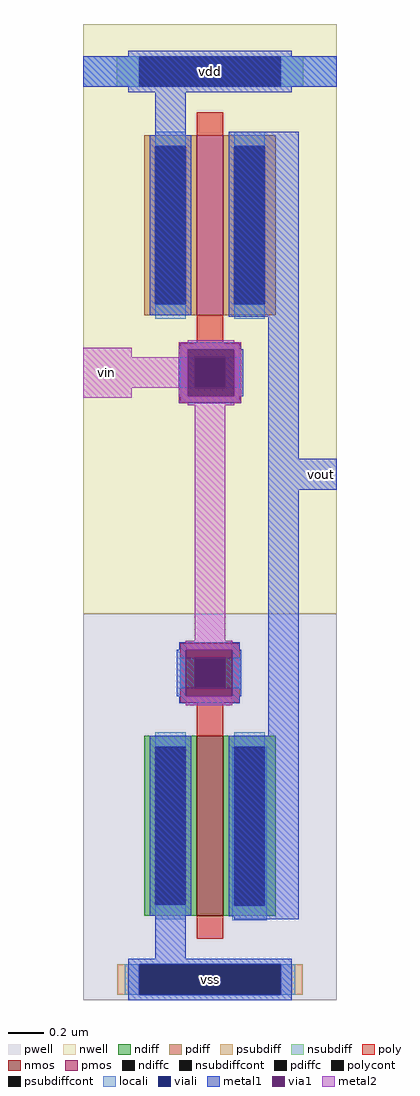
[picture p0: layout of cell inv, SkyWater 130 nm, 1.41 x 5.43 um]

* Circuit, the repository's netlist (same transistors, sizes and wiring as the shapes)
** sch_path: /home/vincef/projects/tt06_555/xsch/ip/logic/inv.sch
.subckt inv vin vout vdd vss
*.PININFO vin:I vout:O vdd:I vss:I
XMn vout vin vss vss sky130_fd_pr__nfet_01v8 L=0.15 W=1 nf=1 m=1
XMp vout vin vdd vdd sky130_fd_pr__pfet_01v8 L=0.15 W=1 nf=1 m=1
.ends
.end

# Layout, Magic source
magic
tech sky130A
magscale 1 2
<< nwell >>
rect 978 1218 1260 1437
<< pwell >>
rect 978 788 1260 1218
<< psubdiff >>
rect 1016 794 1040 828
rect 1198 794 1222 828
<< psubdiffcont >>
rect 1040 794 1198 828
<< poly >>
rect 1104 1453 1134 1504
rect 1086 1169 1152 1185
rect 1086 1135 1102 1169
rect 1136 1135 1152 1169
rect 1086 1119 1152 1135
rect 1104 1082 1134 1119
<< polycont >>
rect 1102 1135 1136 1169
<< locali >>
rect 1086 1135 1102 1169
rect 1136 1135 1152 1169
rect 1024 794 1040 828
rect 1198 794 1214 828
<< viali >>
rect 1040 1804 1198 1838
rect 1102 1135 1136 1169
rect 1040 794 1198 828
<< metal1 >>
rect 1028 1838 1210 1844
rect 1028 1804 1040 1838
rect 1198 1804 1210 1838
rect 1028 1798 1210 1804
rect 1058 1562 1092 1798
rect 1140 1548 1218 1754
rect 1086 1512 1152 1520
rect 1084 1460 1094 1512
rect 1146 1460 1156 1512
rect 1086 1452 1152 1460
rect 1184 1390 1218 1548
rect 1184 1356 1260 1390
rect 1085 1178 1152 1186
rect 1082 1126 1092 1178
rect 1144 1126 1154 1178
rect 1085 1118 1152 1126
rect 1184 1070 1218 1356
rect 1058 834 1092 1070
rect 1146 878 1218 1070
rect 1028 828 1210 834
rect 1028 794 1040 828
rect 1198 794 1210 828
rect 1028 788 1210 794
<< via1 >>
rect 1094 1460 1146 1512
rect 1092 1169 1144 1178
rect 1092 1135 1102 1169
rect 1102 1135 1136 1169
rect 1136 1135 1144 1169
rect 1092 1126 1144 1135
<< metal2 >>
rect 1094 1520 1146 1522
rect 978 1503 1032 1514
rect 1084 1512 1154 1520
rect 1084 1503 1094 1512
rect 978 1469 1094 1503
rect 978 1458 1032 1469
rect 1084 1460 1094 1469
rect 1146 1460 1154 1512
rect 1084 1452 1154 1460
rect 1094 1450 1146 1452
rect 1102 1188 1136 1450
rect 1092 1178 1144 1188
rect 1092 1116 1144 1126
use sky130_fd_pr__pfet_01v8_7PK3FC  sky130_fd_pr__pfet_01v8_7PK3FC_0
transform 1 0 1119 0 1 1614
box -141 -178 141 260
use sky130_fd_pr__nfet_01v8_BXYDM4  XMn
transform 1 0 1119 0 1 1013
box -106 -216 104 102
<< labels >>
flabel metal1 1040 1804 1198 1838 0 FreeSans 320 0 0 0 vdd
port 3 nsew default bidirectional
flabel metal1 1226 1356 1260 1390 7 FreeSans 320 0 0 0 vout
port 2 w default output
flabel metal1 1040 794 1198 828 0 FreeSans 320 0 0 0 vss
port 4 nsew default bidirectional
flabel metal2 978 1460 1030 1512 3 FreeSans 320 0 0 0 vin
port 1 e default input
<< end >>

# cell sky130_fd_pr__pfet_01v8_7PK3FC: kit device sky130_fd_pr__pfet_01v8, w 1.0 l 0.15 m 1 nf 1 diffcov 100 polycov 100 guard 1 glc 0 grc 0 gtc 1 gbc 0 tbcov 100 rlcov 100 topc 0 botc 1 poverlap 0 doverlap 1 lmin 0.15 wmin 0.42 compatible {sky130_fd_pr__pfet_01v8 sky130_fd_pr__pfet_01v8_lvt sky130_fd_pr__pfet_01v8_hvt sky130_fd_pr__pfet_g5v0d10v5} full_metal 0 viasrc 100 viadrn 100 viagate 100 viagb 0 viagr 0 viagl 0 viagt 0

# cell sky130_fd_pr__nfet_01v8_BXYDM4: kit device sky130_fd_pr__nfet_01v8, w 1.0 l 0.15 m 1 nf 1 diffcov 100 polycov 100 guard 1 glc 0 grc 0 gtc 0 gbc 1 tbcov 100 rlcov 100 topc 1 botc 0 poverlap 0 doverlap 1 lmin 0.15 wmin 0.42 compatible {sky130_fd_pr__nfet_01v8 sky130_fd_pr__nfet_01v8_lvt sky130_fd_bs_flash__special_sonosfet_star sky130_fd_pr__nfet_g5v0d10v5 sky130_fd_pr__nfet_05v0_nvt sky130_fd_pr__nfet_03v3_nvt} full_metal 0 viasrc 100 viadrn 100 viagate 100 viagb 0 viagr 0 viagl 0 viagt 0
